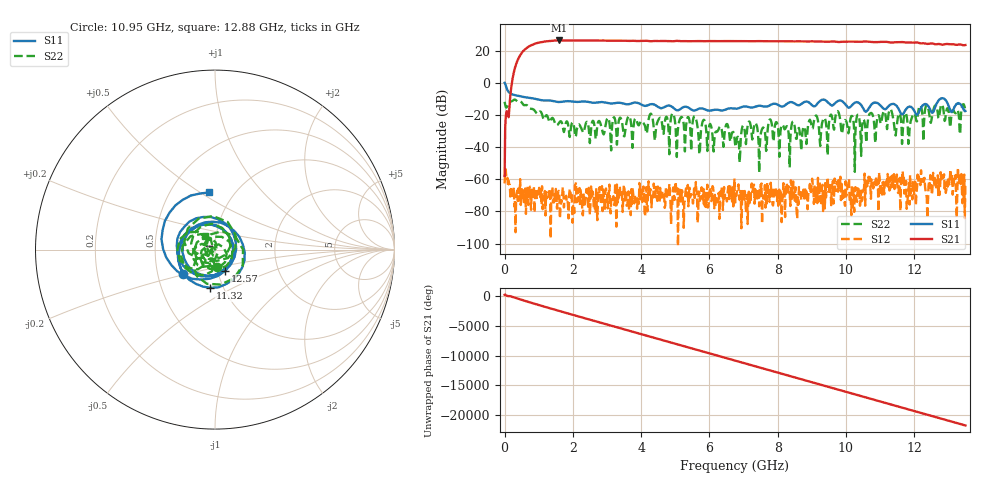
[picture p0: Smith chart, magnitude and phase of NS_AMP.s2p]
!Agilent Technologies,N5230A,MY45000845,A.06.01.05
!Agilent N5230A: A.06.01.05
!Date: Friday, July 13, 2012 16:22:03
!Correction: S11(Full 2 Port(1,2)) S21(Full 2 Port(1,2)) S12(Full 2 Port(1,2)) S22(Full 2 Port(1,2))
!S2P File: Measurements: S11, S21, S12, S22:
# Hz S  dB  R 50
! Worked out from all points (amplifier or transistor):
!   801 points, 300 kHz to 13.5 GHz, reference 50 ohm
!   highest |S21| = 26.3 dB at 1.603 GHz (marker M1)
!   |S21| within 3 dB of that: 780.6 MHz to end of sweep
!   unconditionally stable (mu >= 1): start of sweep to end of sweep
!   at 2.245 GHz: K = 80.56, MAG = 26.6 dB, |S12| = -71.0 dB
!   at 6.75 GHz: K = 158.75, MAG = 26.0 dB, |S12| = -76.1 dB
!   at 13.5 GHz: K = 43.56, MAG = 23.6 dB, |S12| = -62.6 dB
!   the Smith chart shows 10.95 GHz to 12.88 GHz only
!   S11 on the Smith chart (normalised r, x): 10.95 GHz: 0.68, -0.20; 11.32 GHz: 0.87, -0.39; 12.57 GHz: 1.09, -0.26; 12.88 GHz: 0.77, +0.55
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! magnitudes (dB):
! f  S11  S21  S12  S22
! 300 kHz  0.0  -57.9  -62.6  -11.8
! 84.67 MHz  -4.6  -18.3  -59.2  -14.5
! 236.5 MHz  -7.3  2.9  -70.1  -11.2
! 422.2 MHz  -8.2  15.8  -73.3  -11.6
! 1.603 GHz  -12.0  26.3  -70.0  -24.8
! 2.261 GHz  -11.7  26.3  -70.2  -29.1
! 4.506 GHz  -15.2  25.9  -65.7  -23.1
! 6.75 GHz  -16.1  25.9  -76.1  -37.7
! 7.172 GHz  -15.2  25.8  -74.9  -24.1
! 7.493 GHz  -14.3  25.8  -63.6  -34.4
! 7.78 GHz  -13.9  25.8  -67.5  -22.8
! 8.539 GHz  -13.5  25.8  -71.9  -34.8
! 9.011 GHz  -14.0  25.7  -59.7  -28.5
! 9.804 GHz  -11.0  25.4  -63.1  -19.9
! 10.18 GHz  -14.0  25.6  -63.7  -20.7
! 10.95 GHz  -13.0  25.3  -80.1  -20.2
! 11.26 GHz  -14.5  25.2  -60.9  -18.6
! 11.32 GHz  -13.4  25.0  -65.1  -16.8
! 11.86 GHz  -14.8  25.1  -75.7  -29.1
! 12.57 GHz  -17.7  24.2  -59.9  -16.1
! 12.88 GHz  -9.9  23.8  -56.9  -20.5
! 13.5 GHz  -17.6  23.5  -62.6  -17.9
